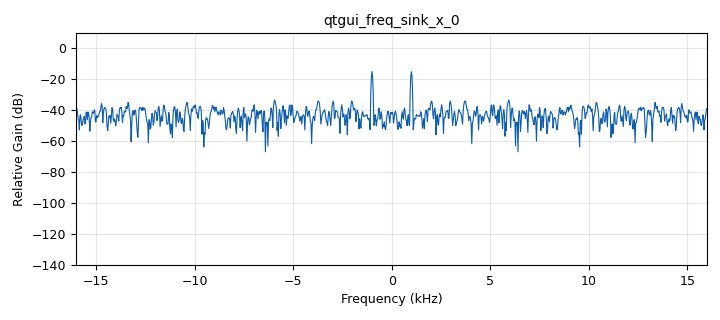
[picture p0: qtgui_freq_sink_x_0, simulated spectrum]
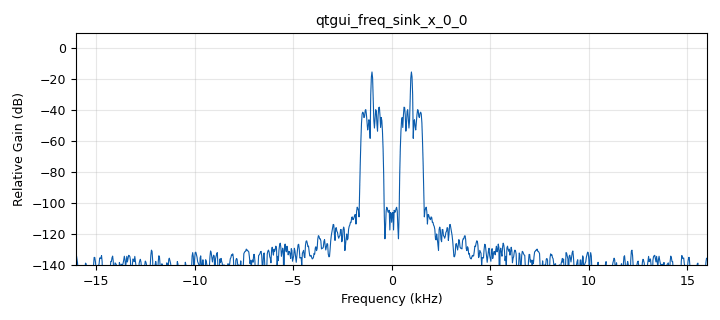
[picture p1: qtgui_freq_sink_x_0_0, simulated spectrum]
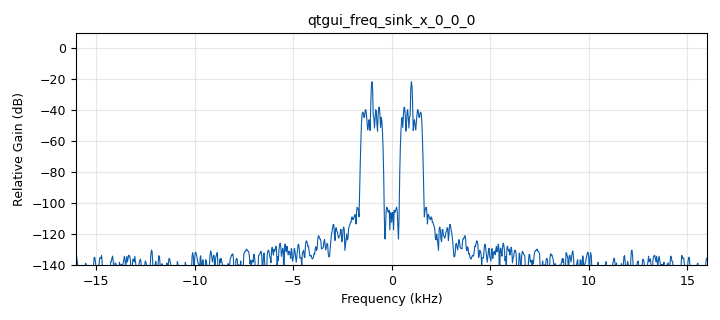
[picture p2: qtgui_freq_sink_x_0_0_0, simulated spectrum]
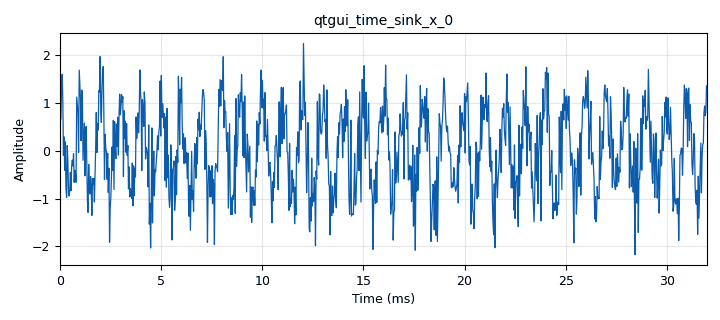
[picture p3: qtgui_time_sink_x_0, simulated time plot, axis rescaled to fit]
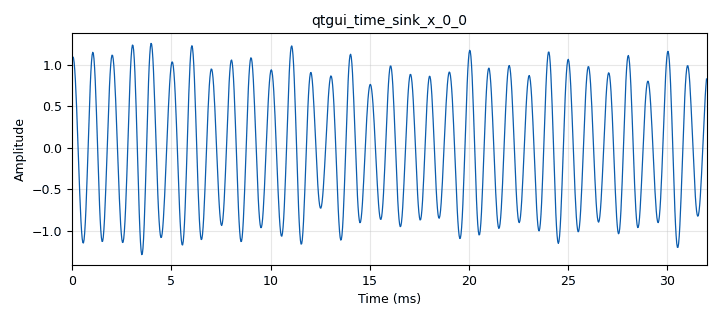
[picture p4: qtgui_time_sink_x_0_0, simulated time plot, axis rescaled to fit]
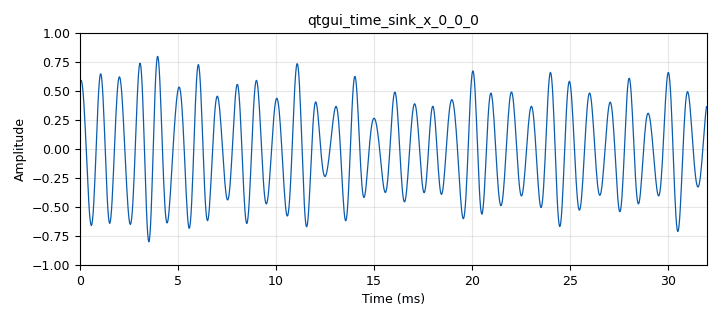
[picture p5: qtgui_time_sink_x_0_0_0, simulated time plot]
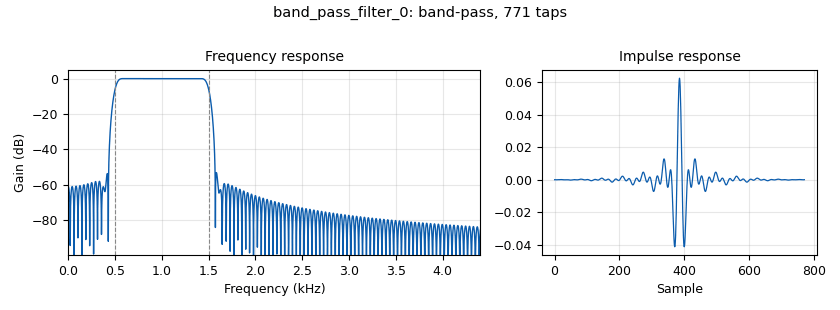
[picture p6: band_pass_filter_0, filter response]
options:
  parameters:
    generate_options: qt_gui
    id: noise
    output_language: python
    title: Not titled yet
  states: {}

blocks:
- name: amp
  id: variable_qtgui_range
  parameters:
    start: '0'
    step: '.1'
    stop: '1'
    value: '0.5'
    widget: dial
  states: {}
- name: amp_jammer
  id: variable_qtgui_range
  parameters:
    gui_hint: tab@2
    start: '0'
    step: '.1'
    stop: '1'
    value: '0.5'
    widget: dial
  states: {}
- name: samp_rate
  id: variable
  parameters:
    value: '32000'
  states: {}
- name: analog_noise_source_x_0
  id: analog_noise_source_x
  parameters:
    amp: amp
    noise_type: analog.GR_GAUSSIAN
    seed: '0'
    type: float
  states: {}
- name: analog_sig_source_x_0
  id: analog_sig_source_x
  parameters:
    amp: '1'
    freq: '1000'
    offset: '0'
    phase: '0'
    samp_rate: samp_rate
    type: float
    waveform: analog.GR_COS_WAVE
  states: {}
- name: analog_sig_source_x_1
  id: analog_sig_source_x
  parameters:
    amp: amp_jammer
    freq: '1000'
    offset: '0'
    phase: np.pi
    samp_rate: samp_rate
    type: float
    waveform: analog.GR_COS_WAVE
  states: {}
- name: audio_source_0
  id: audio_source
  parameters:
    samp_rate: samp_rate
  states: {state: disabled}
- name: audio_source_0_0
  id: audio_source
  parameters:
    samp_rate: samp_rate
  states: {state: disabled}
- name: band_pass_filter_0
  id: band_pass_filter
  parameters:
    decim: '1'
    gain: '1'
    high_cutoff_freq: '1500'
    low_cutoff_freq: '500'
    samp_rate: samp_rate
    type: fir_filter_fff
    width: '100'
    win: window.WIN_HAMMING
  states: {}
- name: band_pass_filter_0_0
  id: band_pass_filter
  parameters:
    decim: '1'
    gain: '1'
    high_cutoff_freq: '1500'
    low_cutoff_freq: '500'
    samp_rate: samp_rate
    type: fir_filter_fff
    width: '100'
    win: window.WIN_HAMMING
  states: {}
- name: blocks_add_xx_0
  id: blocks_add_xx
  parameters:
    type: float
  states: {}
- name: blocks_add_xx_0_0
  id: blocks_add_xx
  parameters:
    type: float
  states: {}
- name: import_0
  id: import
  parameters:
    imports: import numpy as np
  states: {}
- name: qtgui_freq_sink_x_0
  id: qtgui_freq_sink_x
  parameters:
    bw: samp_rate
    fc: '0'
    fftsize: '1024'
    gui_hint: tab@0
    type: float
  states: {}
- name: qtgui_freq_sink_x_0_0
  id: qtgui_freq_sink_x
  parameters:
    bw: samp_rate
    fc: '0'
    fftsize: '1024'
    gui_hint: tab@1
    type: float
  states: {}
- name: qtgui_freq_sink_x_0_0_0
  id: qtgui_freq_sink_x
  parameters:
    bw: samp_rate
    fc: '0'
    fftsize: '1024'
    gui_hint: tab@2
    type: float
  states: {}
- name: qtgui_time_sink_x_0
  id: qtgui_time_sink_x
  parameters:
    gui_hint: tab@0
    size: '1024'
    srate: samp_rate
    type: float
  states: {}
- name: qtgui_time_sink_x_0_0
  id: qtgui_time_sink_x
  parameters:
    gui_hint: tab@1
    size: '1024'
    srate: samp_rate
    type: float
  states: {}
- name: qtgui_time_sink_x_0_0_0
  id: qtgui_time_sink_x
  parameters:
    gui_hint: tab@2
    size: '1024'
    srate: samp_rate
    type: float
  states: {}
- name: tab
  id: qtgui_tab_widget
  parameters:
    label0: Without Filter
    label1: With Filter
    label2: Jammer
    num_tabs: '3'
  states: {}
- name: virtual_sink_0
  id: virtual_sink
  parameters:
    stream_id: S+N
  states: {}
- name: virtual_source_0
  id: virtual_source
  parameters:
    stream_id: S+N
  states: {}
- name: virtual_source_0_0
  id: virtual_source
  parameters:
    stream_id: S+N
  states: {}
- name: virtual_source_0_0_0
  id: virtual_source
  parameters:
    stream_id: S+N
  states: {}

connections:
- [analog_noise_source_x_0, '0', blocks_add_xx_0, '1']
- [analog_sig_source_x_0, '0', blocks_add_xx_0, '0']
- [analog_sig_source_x_1, '0', blocks_add_xx_0_0, '0']
- [band_pass_filter_0, '0', qtgui_freq_sink_x_0_0, '0']
- [band_pass_filter_0, '0', qtgui_time_sink_x_0_0, '0']
- [band_pass_filter_0_0, '0', qtgui_freq_sink_x_0_0_0, '0']
- [band_pass_filter_0_0, '0', qtgui_time_sink_x_0_0_0, '0']
- [blocks_add_xx_0, '0', virtual_sink_0, '0']
- [blocks_add_xx_0_0, '0', band_pass_filter_0_0, '0']
- [virtual_source_0, '0', qtgui_freq_sink_x_0, '0']
- [virtual_source_0, '0', qtgui_time_sink_x_0, '0']
- [virtual_source_0_0, '0', band_pass_filter_0, '0']
- [virtual_source_0_0_0, '0', blocks_add_xx_0_0, '1']

metadata:
  file_format: 1
  grc_version: 3.10.10.0
